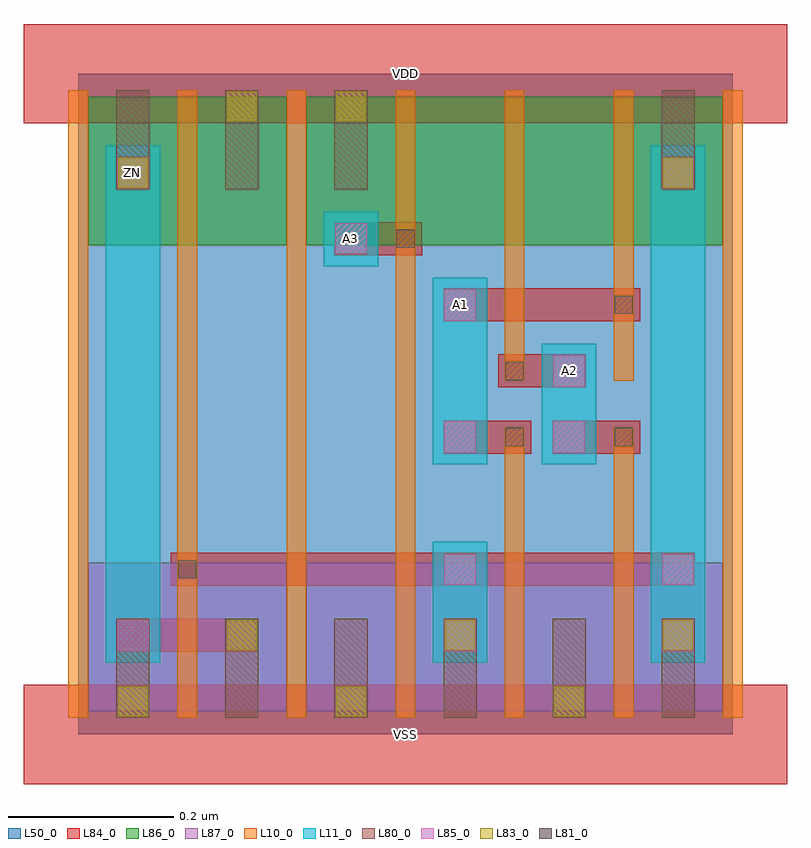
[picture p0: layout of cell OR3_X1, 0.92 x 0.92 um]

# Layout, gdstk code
import gdstk
lib = gdstk.Library(unit=1e-6, precision=1e-09)
def R(c, l, rs):  # rectangles x0, y0, x1, y1
    for r in rs: c.add(gdstk.rectangle(r[:2], r[2:], *l))
def A(c, l, x, y, w, h, nx, ny, dx, dy):  # array of equal rectangles
    R(c, l, [(x+i*dx, y+j*dy, x+i*dx+w, y+j*dy+h) for i in range(nx) for j in range(ny)])
L10_0 = (10, 0)
L11_0 = (11, 0)
L50_0 = (50, 0)
L80_0 = (80, 0)
L81_0 = (81, 0)
L83_0 = (83, 0)
L84_0 = (84, 0)
L85_0 = (85, 0)
L86_0 = (86, 0)
L87_0 = (87, 0)

or3_x1 = lib.new_cell('OR3_X1')
A(or3_x1, L10_0, -0.012, 0.02, 0.024, 0.76, 4, 1, 0.132, 0)
R(or3_x1, L10_0, [(0.516,0.02,0.54,0.372), (0.648,0.02,0.672,0.372), (0.78,0.02,0.804,0.78), (0.516,0.428,0.54,0.78), (0.648,0.428,0.672,0.78)])
R(or3_x1, L11_0, [(0.033,0.087,0.099,0.713), (0.429,0.087,0.495,0.233), (0.693,0.087,0.759,0.713), (0.429,0.327,0.495,0.553), (0.561,0.327,0.627,0.473), (0.297,0.567,0.363,0.633)])
R(or3_x1, L50_0, [(0,0,0.792,0.8)])
A(or3_x1, L80_0, 0.046, 0.02, 0.04, 0.12, 6, 1, 0.132, 0)
A(or3_x1, L80_0, 0.046, 0.66, 0.04, 0.12, 3, 1, 0.132, 0)
R(or3_x1, L80_0, [(0.706,0.66,0.746,0.78)])
R(or3_x1, L81_0, [(0.121,0.189,0.143,0.211), (0.517,0.349,0.539,0.371), (0.649,0.349,0.671,0.371), (0.517,0.429,0.539,0.451), (0.649,0.509,0.671,0.531), (0.385,0.589,0.407,0.611)])
A(or3_x1, L83_0, 0.048, 0.022, 0.036, 0.036, 3, 1, 0.264, 0)
A(or3_x1, L83_0, 0.18, 0.102, 0.036, 0.036, 3, 1, 0.264, 0)
R(or3_x1, L83_0, [(0.048,0.662,0.084,0.698), (0.708,0.662,0.744,0.698), (0.18,0.742,0.216,0.778), (0.312,0.742,0.348,0.778)])
R(or3_x1, L84_0, [(-0.066,-0.06,0.858,0.06), (0.046,0.1,0.218,0.14), (0.442,0.1,0.482,0.14), (0.706,0.1,0.746,0.14), (0.112,0.18,0.746,0.22), (0.442,0.34,0.548,0.38), (0.574,0.34,0.68,0.38), (0.508,0.42,0.614,0.46), (0.442,0.5,0.68,0.54), (0.31,0.58,0.416,0.62), (0.046,0.66,0.086,0.7), (0.706,0.66,0.746,0.7), (-0.066,0.74,0.858,0.86)])
A(or3_x1, L85_0, 0.443, 0.181, 0.038, 0.038, 1, 3, 0, 0.16)
R(or3_x1, L85_0, [(0.047,0.101,0.085,0.139), (0.443,0.101,0.481,0.139), (0.707,0.101,0.745,0.139), (0.707,0.181,0.745,0.219), (0.575,0.341,0.613,0.379), (0.575,0.421,0.613,0.459), (0.311,0.581,0.349,0.619), (0.047,0.661,0.085,0.699), (0.707,0.661,0.745,0.699)])
R(or3_x1, L86_0, [(0.012,0.592,0.252,0.772), (0.276,0.592,0.78,0.772)])
R(or3_x1, L87_0, [(0.012,0.028,0.252,0.208), (0.276,0.028,0.78,0.208)])
or3_x1.add(gdstk.Label('VDD', (0.396,0.8), layer=88, texttype=0))
or3_x1.add(gdstk.Label('VSS', (0.396,0), layer=88, texttype=0))
or3_x1.add(gdstk.Label('A2', (0.594,0.44), layer=31, texttype=0))
or3_x1.add(gdstk.Label('A1', (0.462,0.52), layer=31, texttype=0))
or3_x1.add(gdstk.Label('ZN', (0.066,0.68), layer=31, texttype=0))
or3_x1.add(gdstk.Label('A3', (0.33,0.6), layer=31, texttype=0))

lib.write_gds('OR3_X1.gds')
